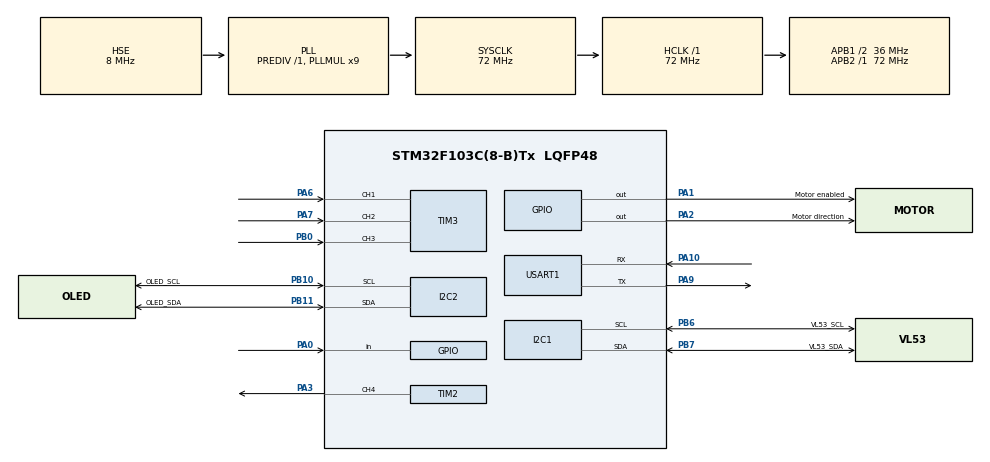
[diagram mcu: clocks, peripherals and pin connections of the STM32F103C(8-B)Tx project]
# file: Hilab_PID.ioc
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Dma.I2C2_RX.0.Direction=DMA_PERIPH_TO_MEMORY
Dma.I2C2_RX.0.Instance=DMA1_Channel5
Dma.I2C2_RX.0.MemDataAlignment=DMA_MDATAALIGN_BYTE
Dma.I2C2_RX.0.MemInc=DMA_MINC_ENABLE
Dma.I2C2_RX.0.Mode=DMA_NORMAL
Dma.I2C2_RX.0.PeriphDataAlignment=DMA_PDATAALIGN_BYTE
Dma.I2C2_RX.0.PeriphInc=DMA_PINC_DISABLE
Dma.I2C2_RX.0.Priority=DMA_PRIORITY_LOW
Dma.I2C2_TX.1.Direction=DMA_MEMORY_TO_PERIPH
Dma.I2C2_TX.1.Instance=DMA1_Channel4
Dma.I2C2_TX.1.MemDataAlignment=DMA_MDATAALIGN_BYTE
Dma.I2C2_TX.1.MemInc=DMA_MINC_ENABLE
Dma.I2C2_TX.1.Mode=DMA_NORMAL
Dma.I2C2_TX.1.PeriphDataAlignment=DMA_PDATAALIGN_BYTE
Dma.I2C2_TX.1.PeriphInc=DMA_PINC_DISABLE
Dma.I2C2_TX.1.Priority=DMA_PRIORITY_LOW
Dma.Request0=I2C2_RX
Dma.Request1=I2C2_TX
I2C1.I2C_Mode=I2C_Fast
I2C2.I2C_Mode=I2C_Fast
IWDG.Prescaler=IWDG_PRESCALER_16
Mcu.Family=STM32F1
Mcu.Name=STM32F103C(8-B)Tx
Mcu.Package=LQFP48
NVIC.DMA1_Channel4_IRQn=true\:0\:0\:false\:false\:true\:false\:true\:true
NVIC.DMA1_Channel5_IRQn=true\:0\:0\:false\:false\:true\:false\:true\:true
NVIC.I2C1_EV_IRQn=true\:0\:0\:false\:false\:true\:true\:true\:true
NVIC.I2C2_EV_IRQn=true\:0\:0\:false\:false\:true\:true\:true\:true
NVIC.PriorityGroup=NVIC_PRIORITYGROUP_4
NVIC.TIM1_UP_IRQn=true\:2\:0\:true\:false\:true\:true\:true\:true
NVIC.TIM3_IRQn=true\:0\:0\:false\:false\:true\:true\:true\:true
NVIC.USART1_IRQn=true\:0\:0\:false\:false\:true\:true\:true\:true
PA0-WKUP.GPIO_PuPd=GPIO_PULLDOWN
PA0-WKUP.Signal=GPIO_Input
PA1.GPIO_Label=Motor enabled
PA1.Signal=GPIO_Output
PA10.Mode=Asynchronous
PA10.Signal=USART1_RX
PA13.Mode=Trace_Asynchronous_SW
PA13.Signal=SYS_JTMS-SWDIO
PA14.Mode=Trace_Asynchronous_SW
PA14.Signal=SYS_JTCK-SWCLK
PA2.GPIO_Label=Motor direction
PA2.Signal=GPIO_Output
PA3.Signal=S_TIM2_CH4
PA6.Signal=S_TIM3_CH1
PA7.Signal=S_TIM3_CH2
PA9.Mode=Asynchronous
PA9.Signal=USART1_TX
PB0.GPIO_PuPd=GPIO_PULLUP
PB0.Signal=S_TIM3_CH3
PB10.GPIO_Label=OLED_SCL
PB10.Mode=I2C
PB10.Signal=I2C2_SCL
PB11.GPIO_Label=OLED_SDA
PB11.Mode=I2C
PB11.Signal=I2C2_SDA
PB3.Mode=Trace_Asynchronous_SW
PB3.Signal=SYS_JTDO-TRACESWO
PB6.GPIO_Label=VL53_SCL
PB6.Mode=I2C
PB6.Signal=I2C1_SCL
PB7.GPIO_Label=VL53_SDA
PB7.Mode=I2C
PB7.Signal=I2C1_SDA
PC14-OSC32_IN.Mode=LSE-External-Oscillator
PC14-OSC32_IN.Signal=RCC_OSC32_IN
PC15-OSC32_OUT.Mode=LSE-External-Oscillator
PC15-OSC32_OUT.Signal=RCC_OSC32_OUT
PD0-OSC_IN.Mode=HSE-External-Oscillator
PD0-OSC_IN.Signal=RCC_OSC_IN
PD1-OSC_OUT.Mode=HSE-External-Oscillator
PD1-OSC_OUT.Signal=RCC_OSC_OUT
ProjectManager.HeapSize=0x200
ProjectManager.StackSize=0x400
ProjectManager.TargetToolchain=CMake
RCC.AHBFreq_Value=72000000
RCC.APB1CLKDivider=RCC_HCLK_DIV2
RCC.APB1Freq_Value=36000000
RCC.APB1TimFreq_Value=72000000
RCC.APB2Freq_Value=72000000
RCC.APB2TimFreq_Value=72000000
RCC.HCLKFreq_Value=72000000
RCC.PLLMUL=RCC_PLL_MUL9
RCC.PLLSourceVirtual=RCC_PLLSOURCE_HSE
RCC.SYSCLKFreq_VALUE=72000000
RCC.SYSCLKSource=RCC_SYSCLKSOURCE_PLLCLK
RCC.USBFreq_Value=72000000
SH.S_TIM2_CH4.0=TIM2_CH4,PWM Generation4 CH4
SH.S_TIM3_CH1.0=TIM3_CH1,Encoder_Interface
SH.S_TIM3_CH2.0=TIM3_CH2,Encoder_Interface
SH.S_TIM3_CH3.0=TIM3_CH3,Input_Capture3_from_TI3
TIM1.Period=1000-1
TIM1.Prescaler=71
TIM2.Channel-PWM\ Generation1\ No\ Output=TIM_CHANNEL_1
TIM2.Channel-PWM\ Generation4\ CH4=TIM_CHANNEL_4
TIM2.Period=999
TIM2.Prescaler=71
TIM3.Channel-Input_Capture3_from_TI3=TIM_CHANNEL_3
TIM3.EncoderMode=TIM_ENCODERMODE_TI12
TIM3.IC1Filter=15
TIM3.IC2Filter=15
TIM3.ICFilter_CH3=15
USART1.VirtualMode=VM_ASYNC
VP_IWDG_VS_IWDG.Mode=IWDG_Activate
VP_TIM1_VS_ClockSourceINT.Mode=Internal
VP_TIM2_VS_no_output1.Mode=PWM Generation1 No Output
board=custom

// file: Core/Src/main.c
/* USER CODE BEGIN Header */
/**C:/msys64/msys2_shell.cmd -defterm -no-start -use-full-path -here -ucrt64 -c "cmake --build build/Debug"
C:/msys64/msys2_shell.cmd -defterm -no-start -use-full-path -here -ucrt64 -c "openocd -f openocd_stlink.cfg -c 'program
build/Debug/Hilab_PID.elf verify reset exit'"
 ******************************************************************************
 * @file           : main.c
 * @brief          : Main program body
 ******************************************************************************
 * @attention
 *
 * Copyright (c) 2026 STMicroelectronics.
 * All rights reserved.
 *
 * This software is licensed under terms that can be found in the LICENSE file
 * in the root directory of this software component.
 * If no LICENSE file comes with this software, it is provided AS-IS.
 *
 ******************************************************************************
 */
/* USER CODE END Header */
#include "main.h"
#include "dma.h"
#include "i2c.h"
#include "iwdg.h"
#include "tim.h"
#include "usart.h"
#include "gpio.h"

/* USER CODE BEGIN Includes */
#include "encoder.h" /* 编码器计数/Z 校准/掉电保存 */
#include "key.h"	 /* PA0 按键消抖与事件队列 */
#include "motor.h"	 /* 电机控制（含 g_mot_en） */
#include "oled.h"	 /* OLED 屏幕原语 */
#include "pid.h"	 /* 位置式 PID 控制器（标准命名：Target/Actual/Out/Kp/Ki/Kd） */
#include "tof.h"	 /* 测距 → 滤波 → 有效帧占比（含 g_tof_filter） */

#include <stdbool.h>
#include <stdint.h>
#include <stdio.h>	/* snprintf */
#include <stdlib.h> /* strtol */

/* USER CODE END Includes */

/* USER CODE BEGIN PD */
/* 调度周期：内环=外环=20ms（50Hz，同拍） */
#define Inner_PERIOD_MS		20u					  /* 内环：编码器位置 PID，50Hz */
#define Outter_PERIOD_MS	(Inner_PERIOD_MS * 5) /* 外环：位置→内环位置目标，100ms */
#define CMD_PERIOD_MS  100u					 /* 串口命令：10Hz（主循环执行） */
#define OLED_PERIOD_MS		200u				  /* OLED 页面内容更新：5Hz（主循环执行） */
#define OLED_TICK_PERIOD_MS 25u					  /* OLED 逐页回写：25ms 一页，8 页整屏 200ms */
#define VOFA_PERIOD_MS	 Inner_PERIOD_MS	   /* VOFA 20ms 1次 */
#define TOF_PERIOD_MS		20					  /* TOF 20ms 1次 */
#define ENCODER_PERIOD_MS	20					  /* 编码器 50ms 1次 */
#define ENC_TICK_PERIOD_MS	20					  /* 编码器 50ms 1次 */
#define TOF_TICK_PERIOD_MS	20					  /* TOF 20ms 1次 */
/* 单环位置 PID：小球位置(pos_cm_x10) → 脉冲频率(Hz)，每个测距拍推进一次。
 * 方向开关（唯一）：1 = 正相关（pos>0 时 freq>0），0 = 负相关。
 * Target=0 时 Out = Kp×(0−pos)，故正相关对应 Kp 取负号。 */
#define BALL_POS_HZ_SIGN	  1
#define BALL_POS_HZ_DIR		  (BALL_POS_HZ_SIGN ? -1.0f : 1.0f) // 正相关（pos>0 时 freq>0）
#define BALL_KP_HZ_PER_CM_X10 4.0f								/* Hz / 0.1cm 偏差（pos=30 即 3cm 时 120Hz） */
/* 外环积分偏置：吃零点误差与"维持角"的常值偏差，位置相关的部分由它在每个停留点自己学。
 * 必须加在制动包络外面 —— |e|=48mm 时包络已把 Out 夹到 44 counts，积分加在里面会被一起夹掉。
 * 增益取自串口第 2 个参数（千分比）：0 = 关闭，10 = 0.01；上电默认 0.03。
 * 积分时间 = Kp/Ki = 2/0.03 ≈ 67 拍 ≈ 6.7s；配合"卡住才积分"不会积成极限环。
 * 限幅 60 counts：够补实测维持角偏差（拧紧后 ~30~40），又不至于把杆带偏。 */
#define BALL_I_BIAS_MAX		  60.0f /* 积分偏置默认上限（counts）；可经串口第 8 参数在线改 */
/* 条件积分（2026-11-07）：只在球"卡住"时累加，球一动就冻结，避免把动量积成过冲。
 * 卡住判据不能直接用 kf_vel：静止噪声 σ≈8.5mm/s，而慢速爬行只有 ~8mm/s，
 * 两者重叠。故先做一阶低通（外环 100ms，α=0.2 → τ≈0.45s，噪声降到 ~3mm/s），
 * 低通后仍低于 5mm/s 才算静止。误差死区避免在目标附近继续堆偏置。 */
#define BALL_I_STUCK_MM_S	  5.0f /* 低通后速度阈值（mm/s）：低于此值视为卡住 */
#define BALL_I_DEADBAND		  2.0f /* 误差死区（mm）：|e| 小于此值不再积分 */
/* 运动泄放：球真正滚起来后，积分偏置按 τ≈1.4s 向 0 泄放。
 * 静摩擦突破所需的偏置对动摩擦来说偏大，不泄放会带着它冲过头
 * （实测 Ki=0.03/cap=60 阶跃过冲 +35mm）。泄放只在高速度段生效，
 * 5~15mm/s 的慢爬行保持偏置，避免"泄放→停住→再积"的小极限环。 */
#define BALL_I_MOVE_MM_S	  15.0f /* 泄放起始速度（mm/s） */
#define BALL_I_LEAK			  0.93f /* 每拍（100ms）泄放系数：τ≈1.4s */
#define MOTOR_CONTROL_ENABLE  1
#define ZERO_THETA			  680
/* USER CODE END PD */

/* USER CODE BEGIN PV */
/* ---- 串口 RX 解析结果（文件级，主循环读写） ---- */
#define RX_VAL_MAX                                                                                                         \
	14u										/* 一行最多解析 14 个逗号分隔数值：                                            \
											 * Kp,Ki,Kd,brake_gain,brake_min,src,target,bias_max,deadzone,ff_gain,vel_kp,vel_ki,out_max,out_min \
											 * src: 0/省略 = KF 位置，1 = EMA 位置，2 = 速度模式（target 为 v_ref mm/s） \
											 * target: 位置模式=0.1cm（靠近 ToF 为正）；速度模式=v_ref mm/s  \
											 * bias_max: 积分偏置限幅（counts）                            \
											 * deadzone: 外环死区（mm，0~20；带内 Out=0）                  \
											 * ff_gain: 目标速度前馈系数（千分比，可负；0=关闭）           \
											 * vel_kp / vel_ki: 速度环增益（counts/(mm/s)；Ki 千分比/拍） \
											 * out_max / out_min: 外环输出上下限（counts，可不对称） */
static float			rx_val[RX_VAL_MAX]; /* 解析出的数值（支持小数） */
static uint8_t			rx_cnt	 = 0;		/* 本行实际解析出的个数（0~RX_VAL_MAX） */
static volatile uint8_t rx_valid = 0;		/* 1 = 收到新参数行，等主循环接管写入一次 */

/* ---- 调度标志（TIM1 ISR 置位，主循环消费） ---- */
static volatile uint8_t inner_tick	= 0; /* 内环：编码器 PID + TOF 20ms */
static volatile uint8_t	 outter_tick	= 0; /* 外环：位置 PID → 内环位置目标 100ms */
static volatile uint8_t cmd_tick	= 0; /* 串口命令解析 100ms */
static volatile uint8_t	 oled_tick		= 0; /* OLED 页面内容更新 200ms */
static volatile uint8_t	 oled_page_tick = 0; /* OLED 逐页回写 25ms */
static volatile uint8_t vofa_tick	= 0; /* VOFA 20ms 1次 */
static volatile uint32_t tof_tick		= 0;
static volatile uint32_t enc_tick		= 0;
/* 主循环心跳：1 = 最近 1s 内主循环至少跑过一圈；ISR 据此决定是否喂狗 */
static volatile uint8_t loop_alive = 0;
bool					runstate   = 1; /* 默认上电即运行，按键单击翻转为停止 */
/* ---- 外环积分偏置（挂在制动包络外，见 BALL_I_BIAS_MAX 的说明） ----
 * 不用 ball_pid.Ki：PID_Update 内的 I 项会和 P+D 一起被包络夹掉，
 * 而这里要的正是"包络夹不住的常值角度"。 */
/* 上电默认开启条件积分（2026-11-07 实测：机械拧紧 + Ki=0.03/cap=60 后残差 +0.2mm）。
 * 串口第 2 参数仍可在线改，发 0 会同时清掉偏置。 */
static float s_ball_ki = 0.03f; /* 积分增益（串口第 2 参数，千分比） */
static float s_i_bias  = 0.0f; /* 积分偏置（counts），直接叠加到内环目标 */
/* 卡住判据用的低通速度（mm/s）：外环 100ms 更新，α=0.2 → τ≈0.45s */
static float s_vel_slow = 0.0f;
/* 偏置限幅（counts）：限的是 Ki·Σe 这个"积分输出"本身，不是 Σe。
 * 好处是它的物理含义固定——最多能补多少 counts 的杆角，跟 Ki 取多少无关。 */
static float s_i_bias_max = BALL_I_BIAS_MAX;
/* 目标速度前馈：ff = ff_gain × (Target − Target_prev)（每拍增量，≈ ṙ·Ts）。
 * 与 Kd 的实际速度反馈分开，系数由串口第 10 位（千分比）单独整定。 */
static float s_ff_gain		= 0.0f;
static float s_target_prev	= 0.0f;
/* 速度模式（src=2）：目标字段改为 v_ref（mm/s），走 vel_pid 而非位置环 */
static uint8_t s_vel_mode = 0;
static float   s_vref	  = 0.0f;
/* ---- 位置外环 PID（ToF 反馈 → 内环位置目标 counts） ----
 * 上电默认值 = 2026-11-06 实测最优（见 .trae/documents/摆杆闭环调参与KF实测记录.md 第六章）：
 * 收敛 5s、过冲 14~29mm、稳态 σ 1.4~2.9mm。上位机不发参数时也必须能稳住，
 * 故这里直接写最优值，不再保留旧的 Kp=5/Kd=40/brake=4 整定起点。 */
PID_t ball_pid = {
	.Kp			= 2.0f,
	.Ki			= 0.0f,
	.Kd			= 15.0f,
	.OutMin		= -200.0f,
	.OutMax		= 200.0f,
	/* 积分限幅：0 表示不限幅（无限累积 → 积分饱和）。摩擦死区约 15 counts，
	 * 稳态输出全由积分提供时 ErrorInt ≈ 15/Ki（Ki=0.1 → 150），故留 2 倍裕量 */
	.i_limit	= 300.0f,
	.Target		= 0.0f,
	.brake_gain = 20.0f, /* 包络增益上限：25 卡死（偏差 47mm）、35/50 极限环 */
	.brake_min	= 0.5f,
	.Out		= 200.0f,
	.use_vel_d	= 1, /* D 项改用 KF 速度输入，不再对位置差分（见 PID_t 的 Vel 说明） */
	.deadzone	= 5.0f, /* 位置死区（mm）：带内 Out=0、电机不动；实测残差 ≤5mm 可接受 */
};
/* ---- 位置内环 PID（编码器反馈 → 步进频率 Hz） ---- */
PID_t encoder_pid = {
	.Kp		 = 11.0f,
	.Ki		 = 0.0f,
	.Kd		 = 2.0f,
	.OutMin	 = -10000.0f, /* 频率限幅 ±300Hz（D36A 启动频率内，防丢步） */
	.OutMax	 = 10000.0f,
	.i_limit = 10000.0f,
	.Target	 = 0.0f,
};
/* ---- 速度环 PID（速度模式用：v_ref(mm/s) → 角度偏置 counts） ----
 * src=2 时启用：上位机按正弦轨迹给 v_ref，内环角度环不变。
 * Actual 取 dpos/dt = −kf_vel（pos 为靠近 ToF 为正的坐标）；
 * Kp 单位 counts/(mm/s)，Ki 按每拍千分比由串口第 12 位给。 */
PID_t vel_pid = {
	.Kp		 = 8.0f,
	.Ki		 = 0.0f,
	.Kd		 = 0.0f,
	.OutMin	 = -200.0f,
	.OutMax	 = 200.0f,
	.i_limit = 200.0f,
	.Target	 = 0.0f,
};
/* 控制状态（s_ctrl_mode/s_key_estop）与滤波器实例（g_tof_filter）已迁至
 * ctrl.c / tof.c，本文件通过 Ctrl_GetMode()/Ctrl_IsEstop()/g_tof_filter 访问。 */
/* USER CODE END PV */

void SystemClock_Config(void);
/* USER CODE BEGIN PFP */
/* 控制逻辑与串口命令解析均在 main.c 内实现。 */
/* USER CODE END PFP */

/* USER CODE BEGIN 0 */
/* 页面文案与取数都在 main 层就地实现（各页仅一处使用，不另设封装）；
 * OLED 模块只提供屏幕原语，每次改动只回写改动区。 */
/* USER CODE END 0 */

int main(void)
{

  /* MCU Configuration--------------------------------------------------------*/

  /* Reset of all peripherals, Initializes the Flash interface and the Systick. */
  HAL_Init();

  /* Configure the system clock */
  SystemClock_Config();

  /* Initialize all configured peripherals */
  MX_GPIO_Init();
  MX_DMA_Init();
  MX_I2C1_Init();
  MX_TIM2_Init();
  MX_USART1_UART_Init();
  MX_I2C2_Init();
  MX_TIM1_Init();
  MX_IWDG_Init();
  MX_TIM3_Init();
  /* USER CODE BEGIN 2 */
  /* IWDG 自 MX_IWDG_Init 起已运行，初始化分步喂狗防误复位 */
  HAL_IWDG_Refresh(&hiwdg);

  OLED_Init();
  HAL_IWDG_Refresh(&hiwdg);

  /* 复位诊断：第二行显示上次复位源，P=上电/掉电 I=IWDG N=NRST S=软件 */
  {
	  char rst_ch = 'S';

	  if (__HAL_RCC_GET_FLAG(RCC_FLAG_PORRST)) {
		  rst_ch = 'P';
	  } else if (__HAL_RCC_GET_FLAG(RCC_FLAG_IWDGRST)) {
		  rst_ch = 'I';
	  } else if (__HAL_RCC_GET_FLAG(RCC_FLAG_PINRST)) {
		  rst_ch = 'N';
	  }
	  __HAL_RCC_CLEAR_RESET_FLAGS(); // 清除复位标志位，避免重复显示
	  OLED_Print(0, 8, "RST:%c", rst_ch);
	  OLED_Flush(0, 8, OLED_WIDTH, 8);
  }
  HAL_IWDG_Refresh(&hiwdg);

  /* VL53L1X 初始化 + 启动连续测量（Short 模式 250mm）。
   * 内部阻塞 ~数百 ms；失败在应用层显示错误页并持续喂狗停机 */
  {
	  int err = Tof_InitSensor(NULL);

	  if (err != 0) {
		  OLED_Print(0, 16, "VL53 FAIL");
		  OLED_Print(0, 24, "step:%s err:%d", g_tof.last_step, err);
		  OLED_Flush(0, 16, OLED_WIDTH, 16);
		  HAL_IWDG_Refresh(&hiwdg);
		  HAL_Delay(3000);
	  }
  }
  HAL_IWDG_Refresh(&hiwdg);

  /* 滤波器与零点初始化 */
  {
	  TofFilter_Init(&g_tof_filter, TOF_FILTER_ALPHA_DEFAULT_MILLI, TOF_FILTER_ZERO_DEFAULT_MM);
	  /* 硬件标定零点：2026-11-07 实测传感器零点漂到 151mm（原 131mm），
	   * 按当前静止读数重新标定，避免位置整体偏 20mm */
	  TofFilter_SetZeroMm(&g_tof_filter, 151);
  }
  /* 执行器与编码器启动：两者都必须在 MX_TIM2_Init/MX_TIM3_Init 之后调用 */
  Motor_Init();	  /* 校验 TIM2 分频、设定 STEP 占空比、对齐 DIR 初态 */
  Encoder_Init(); /* 启动 TIM3 编码器接口，否则 CEN 不置位、CNT 恒 0 */

  /* 串级双 PID 初始化：
   * 外环位置（ToF pos_cm_x10）→ 内环位置目标（counts）
   * 内环位置（编码器 counts）→ 步进频率（Hz）
   * 方向符号由 BALL_POS_HZ_DIR 统一决定 */

  /* 接收上位机命令（A/Z/P/I/D/R）；VOFA 数据流仍只含数值，不混入文本 */
  USART1_StartRx();

  /* SysTick 优先级=1（须高于 TIM1=2）：ISR 内 HAL_GetTick() 走时，
   * HAL_I2C 的 100ms 超时才能生效，防止 VL53L1X_I2C_Recover 死等 */
  HAL_NVIC_SetPriority(SysTick_IRQn, 1, 0);

  /* TIM1 启动（CubeMX 配置 Counter Period=999 → 1ms 基础节拍） */
  if (HAL_TIM_Base_Start_IT(&htim1) != HAL_OK) {
	  Error_Handler();
  }

#if MOTOR_CONTROL_ENABLE
  Motor_SetEnabled(true); /* EN 引脚使能：绕组通电，闭环可直接发脉冲 */
#endif
  HAL_IWDG_Refresh(&hiwdg);

  /* USER CODE END 2 */

  /* Infinite loop */
  while (1) {

    /* USER CODE BEGIN 3 */
	  /* 串口参数接管：仅在收到新参数行时写入一次，禁止每圈无条件覆盖 */
	  if (rx_valid) {
		  rx_valid = 0;
		  if (rx_cnt > 0) ball_pid.Kp = rx_val[0];
		  /* Ki 用千分比：10 = 0.01。不写 ball_pid.Ki —— PID_Update 内的 I 项会和
		   * P+D 一起被制动包络夹掉，这里改由包络外的 s_i_bias 实现。
		   * Ki=0 时同时清掉已积累的偏置，方便做"开/关积分"的 A/B 对照 */
		  if (rx_cnt > 1) {
			  s_ball_ki = rx_val[1] * 0.001f;
			  if (s_ball_ki == 0.0f) {
				  s_i_bias = 0.0f;
			  }
		  }
		  if (rx_cnt > 2) ball_pid.Kd = rx_val[2];
		  if (rx_cnt > 3) ball_pid.brake_gain = rx_val[3];
		  /* brake_min 用千分比：500 = 0.5 counts。其余参数全整数解析，
		   * 以避开 strtof（会拉入约 18KB 浮点库，Flash 容量不够） */
		  if (rx_cnt > 4) ball_pid.brake_min = rx_val[4] * 0.001f;
		  /* 第 6 个参数：模式/源。0=KF 位置（默认），1=EMA 位置，2=速度模式 */
		  if (rx_cnt > 5) {
			  s_vel_mode = (rx_val[5] > 1.5f) ? 1u : 0u;
			  TofFilter_SetOutputEma(&g_tof_filter, (rx_val[5] > 0.5f) && !s_vel_mode);
		  }
		  /* 第 7 个参数：外环目标（0.1cm）。只在收到命令时写一次，不再每周期覆盖。
		   * 符号链：pos = filt − zero，Actual = −pos，故稳态 pos = −Target，
		   * 即 filt = zero − Target。限幅直接按"球到传感器的距离"设定，
		   * 不再按 Target 的正负写上下限（那样会把方向搞反） */
		  if (rx_cnt > 6) {
			  if (s_vel_mode) {
				  /* 速度模式：第 7 位是 v_ref（mm/s），限幅 ±400 */
				  float vr = rx_val[6];

				  if (vr > 400.0f) {
					  vr = 400.0f;
				  } else if (vr < -400.0f) {
					  vr = -400.0f;
				  }
				  s_vref = vr;
			  } else {
				  float filt = (float) g_tof_filter.zero_mm - rx_val[6];

				  if (filt > 470.0f) {
					  filt = 470.0f; /* 远端上限：管长 500mm，球心最远约 470mm；
									  * 传感器实测 0.9 MCPS 下有效到 421 以上 */
				  } else if (filt < 21.0f) {
					  filt = 21.0f; /* 近端下限：避开传感器盲区 */
				  }
				  ball_pid.Target = (float) g_tof_filter.zero_mm - filt;
			  }
		  }
		  /* 第 8 个参数：积分偏置限幅（counts）。夹到 [10, 400]：
		   * 下限避免"限幅 0 = 积分失效"，上限避免大偏置把杆带飞。
		   * 改小限幅时立即把已积累的偏置缩回范围内 */
		  if (rx_cnt > 7) {
			  float m = rx_val[7];

			  if (m < 10.0f) {
				  m = 10.0f;
			  } else if (m > 400.0f) {
				  m = 400.0f;
			  }
			  s_i_bias_max = m;
			  if (s_i_bias > s_i_bias_max) {
				  s_i_bias = s_i_bias_max;
			  } else if (s_i_bias < -s_i_bias_max) {
				  s_i_bias = -s_i_bias_max;
			  }
		  }
		  /* 第 9 个参数：外环死区（mm，夹到 [0,20]）。
		   * |e| 在带内时 PID 输出直接置 0；0 = 关闭 */
		  if (rx_cnt > 8) {
			  float dz = rx_val[8];

			  if (dz < 0.0f) {
				  dz = 0.0f;
			  } else if (dz > 20.0f) {
				  dz = 20.0f;
			  }
			  ball_pid.deadzone = dz;
		  }
		  /* 第 10 个参数：目标速度前馈系数（千分比，可负，夹到 ±3000）。
		   * 0 = 关闭；1000 = 1.0（与目标速度同量纲的前馈） */
		  if (rx_cnt > 9) {
			  float g = rx_val[9];

			  if (g < -3000.0f) {
				  g = -3000.0f;
			  } else if (g > 3000.0f) {
				  g = 3000.0f;
			  }
			  s_ff_gain = g * 0.001f;
		  }
		  /* 第 11/12 个参数：速度环 Kp（counts/(mm/s)）与 Ki（千分比/拍） */
		  if (rx_cnt > 10) {
			  float kp = rx_val[10];

			  if (kp < 0.0f) {
				  kp = 0.0f;
			  } else if (kp > 200.0f) {
				  kp = 200.0f;
			  }
			  vel_pid.Kp = kp;
		  }
		  if (rx_cnt > 11) {
			  float ki = rx_val[11];

			  if (ki < -500.0f) {
				  ki = -500.0f;
			  } else if (ki > 500.0f) {
				  ki = 500.0f;
			  }
			  vel_pid.Ki = ki * 0.001f;
		  }
		  /* 第 13/14 个参数：输出上下限（counts），正/负可分开设置。
		   * 外环与速度环同时生效；夹到 [20, 500] 与 [-500, -20]。 */
		  if (rx_cnt > 12) {
			  float m = rx_val[12];

			  if (m < 20.0f) {
				  m = 20.0f;
			  } else if (m > 500.0f) {
				  m = 500.0f;
			  }
			  ball_pid.OutMax = m;
			  vel_pid.OutMax  = m;
		  }
		  if (rx_cnt > 13) {
			  float m = rx_val[13];

			  if (m > -20.0f) {
				  m = -20.0f;
			  } else if (m < -500.0f) {
				  m = -500.0f;
			  }
			  ball_pid.OutMin = m;
			  vel_pid.OutMin  = m;
		  }
	  }
	  if (tof_tick) {
		  tof_tick = 0;
		  Tof_Tick(&g_tof_filter);
	  }
	  {
		  KeyEvent_t evt;
		  while ((evt = Key_PollEvent()) != KEY_EVT_NONE) {
			  if (evt == KEY_EVT_CLICK) {
				  runstate = !runstate;
			  }
		  }
	  }
	  /* 主循环心跳：IWDG 据此判断是否卡死，任何一步超过 ≈1s 没转圈都会触发复位 */
	  loop_alive = 1;

	  /* 外环（100ms）：位置 PID → 内环位置目标 */

	  /* 编码器采样只在 TIM1 ISR 里做（20ms 一次，见 HAL_TIM_PeriodElapsedCallback）：
	   * Encoder_Tick 读 CNT→算差分→写 s_enc_last 不是原子操作，主循环会被 ToF 的
	   * I2C 阻塞拉长，若再在这里调一次，中断插进读写之间就会重复计数 */

	  /* VOFA 遥测（11 通道，顺序须与 assets/channels.json 一致）：
	   * ch0 enc_target  ch1 enc_actual  ch2 enc_out_hz  ch3 ball_target
	   * ch4 raw_mm      ch5 ema_mm      ch6 kf_pos      ch7 kf_vel
	   * ch8 kf_state    ch9 ball_out    ch10 range_status
	   * 位置通道统一为"相对零点、靠近 ToF 为正"（zero − 距离），与 Target 同向；
	   * 距离为 0 表示尚无数据，保持 0 不上翻。
	   * kf_state 位域：bit0=bad_streak≥3，bit1~4=bad_streak(0~15)，bit5~7=kf_miss(0~7)
	   * range_status：0=有效；>0 为 VL53L1X RangeStatus（1 sigma 超限 / 2 信号弱 /
	   *   7 绕回失败 等）；-1 等数据超时 / -2 读取失败 / -3 滤波器量程拒绝 */
	  if (vofa_tick) {
		  vofa_tick = 0;
		  int32_t z	   = (int32_t) g_tof_filter.zero_mm;
		  int32_t rawp = (g_tof.raw_mm > 0) ? z - (int32_t) g_tof.raw_mm : 0;
		  int32_t emap = (g_tof.ema_mm > 0) ? z - (int32_t) g_tof.ema_mm : 0;
		  int32_t kfp  = (g_tof.filt_mm > 0) ? z - (int32_t) g_tof.filt_mm : 0;
		  int32_t vofa[11] = {(int32_t) encoder_pid.Target, (int32_t) encoder_pid.Actual, (int32_t) encoder_pid.Out,
							  (int32_t) ball_pid.Target,	   rawp,					  emap,
							  kfp,						   (int32_t) g_tof.kf_vel,	  (int32_t) g_tof.kf_state,
							  (int32_t) ball_pid.Out,	   (int32_t) g_tof.range_status};
		  VOFA_SendFrame(vofa, 11);
	  }

	  /* 100ms：读最新 RX 行、按逗号分隔解析整数 */
	  if (cmd_tick) {
		  cmd_tick = 0;
		  if (uart1_last_ready) {
			  const char *p = (const char *) uart1_last_line;
			  char		 *end;

			  rx_cnt = 0;
			  for (uint8_t i = 0; i < RX_VAL_MAX; i++) {
				  while (*p == ' ' || *p == '\t')
					  p++;
				  if (*p == '\0') {
					  break;
				  }
				  long v = strtol(p, &end, 10);
				  if (end == p) {
					  break;
				  }
				  rx_val[rx_cnt++] = (float) v;
				  p				   = end;
				  if (*p == ',') {
					  p++;
					  continue;
				  }
				  break;
			  }
			  uart1_last_ready = 0;
			  rx_valid		   = 1; /* 新参数行，待主循环接管写入一次 */
		  }
	  }

	  /* 5Hz：刷运行时页面 */
	  if (oled_tick) {
		  oled_tick = 0;

		  /* 屏幕位置与遥测同向：靠近 ToF 为正（pos_cm_x10 = 距离 − 零点） */
		  int16_t pos	  = (int16_t) (-g_tof.pos_cm_x10);
		  char	  sign	  = (pos < 0) ? '-' : ' ';
		  int32_t abs_pos = (pos < 0) ? -(int32_t) pos : (int32_t) pos;
		  uint8_t mot_en  = 0u;
		  char	  rx_str[64];
		  char	 *p = rx_str;
#if MOTOR_CONTROL_ENABLE
			mot_en = 1u;
#endif

			for (uint8_t i = 0; i < rx_cnt && i < RX_VAL_MAX; i++) {
				if (i && p < rx_str + sizeof(rx_str) - 1) *p++ = ',';
				p += snprintf(p, sizeof(rx_str) - (size_t) (p - rx_str), "%d", (int) rx_val[i]);
				if (p > rx_str + sizeof(rx_str) - 1) {
					p = rx_str + sizeof(rx_str) - 1; /* 截断时 snprintf 返回"本应长度"，会越界 */
				}
			}
			*p = '\0';

			OLED_ClearArea(0, 0, OLED_WIDTH, 64);
			OLED_Print(0, 0,  "RAW:%4d mm", (int) g_tof.raw_mm);
			OLED_Print(0, 8,  "POS:%c%ld.%ld cm", sign, (long) (abs_pos / 10), (long) (abs_pos % 10));
			OLED_Print(0, 16, "VAL:%3lu%%", (unsigned long) g_tof.valid_pct);
			OLED_Print(0, 24, "ENC:%6ld", (long) Encoder_Read());
			OLED_Print(0, 32, "M:%u R:%u", (unsigned) mot_en, (unsigned) runstate);
			OLED_Print(0, 48, "RX:%d %s", (int) rx_cnt, rx_str);
			/* TOFSTATE = g_tof.range_status（VL53L1X RangeStatus，见 vl53l1_def.h）：
			 *   0  有效
			 *   1  Sigma 超限          2  信号过弱
			 *   3  低于最小量程        4  相位越界
			 *   5  硬件自检失败        6  有效但未做绕回校验
			 *   7  绕回目标失败        8  内部算法溢出
			 *   9  串扰信号失败        10 背靠背首中断（丢弃）
			 *   11 多脉冲合并          12 有目标但信号不足
			 *   13 低于最小量程/ROI 裁剪
			 *   14 距离无效（负值）
			 *   -1 等数据就绪超时  -2 读取失败  -3 越出 [8,500]mm 量程门 */
			OLED_Print(0, 56, "TOFSTATE:%6ld", (long) g_tof.range_status);
	  }

	  /* 25ms：逐页回写一页，8 页整屏 200ms，单次 I2C 阻塞仅为整屏的 1/8 */
	  if (oled_page_tick) {
		  oled_page_tick = 0;
		  OLED_Tick();
	  }

	  /* 按键事件消费（非阻塞） */
  }
  /* USER CODE END 3 */
}

void SystemClock_Config(void)
{
  RCC_OscInitTypeDef RCC_OscInitStruct = {0};
  RCC_ClkInitTypeDef RCC_ClkInitStruct = {0};

  /** Initializes the RCC Oscillators according to the specified parameters
  * in the RCC_OscInitTypeDef structure.
  */
  RCC_OscInitStruct.OscillatorType = RCC_OSCILLATORTYPE_LSI|RCC_OSCILLATORTYPE_HSE;
  RCC_OscInitStruct.HSEState = RCC_HSE_ON;
  RCC_OscInitStruct.HSEPredivValue = RCC_HSE_PREDIV_DIV1;
  RCC_OscInitStruct.HSIState = RCC_HSI_ON;
  RCC_OscInitStruct.LSIState = RCC_LSI_ON;
  RCC_OscInitStruct.PLL.PLLState = RCC_PLL_ON;
  RCC_OscInitStruct.PLL.PLLSource = RCC_PLLSOURCE_HSE;
  RCC_OscInitStruct.PLL.PLLMUL = RCC_PLL_MUL9;
  if (HAL_RCC_OscConfig(&RCC_OscInitStruct) != HAL_OK)
  {
    Error_Handler();
  }

  /** Initializes the CPU, AHB and APB buses clocks
  */
  RCC_ClkInitStruct.ClockType = RCC_CLOCKTYPE_HCLK|RCC_CLOCKTYPE_SYSCLK
                              |RCC_CLOCKTYPE_PCLK1|RCC_CLOCKTYPE_PCLK2;
  RCC_ClkInitStruct.SYSCLKSource = RCC_SYSCLKSOURCE_PLLCLK;
  RCC_ClkInitStruct.AHBCLKDivider = RCC_SYSCLK_DIV1;
  RCC_ClkInitStruct.APB1CLKDivider = RCC_HCLK_DIV2;
  RCC_ClkInitStruct.APB2CLKDivider = RCC_HCLK_DIV1;

  if (HAL_RCC_ClockConfig(&RCC_ClkInitStruct, FLASH_LATENCY_2) != HAL_OK)
  {
    Error_Handler();
  }
}

/* USER CODE BEGIN 4 */
/**
 * @brief TIM1 1ms 节拍：分频驱动内环/外环/VOFA/命令/OLED 节拍，采样按键并按秒喂狗
 * @param htim 触发回调的定时器（仅处理 TIM1，其它实例立即返回）
 * @note  ISR 上下文：不可阻塞、不可调用持有外设锁的 HAL 接口；PID/测距在主循环执行
 */
void HAL_TIM_PeriodElapsedCallback(TIM_HandleTypeDef *htim) {
	static uint16_t tick_ms = 0;
	static uint8_t	ctrl_tick = 0;

	if (htim->Instance != TIM1) {
		return;
	}
	/* 编码器 50ms 1次 */
	if ((tick_ms % TOF_PERIOD_MS) == 0) {
		tof_tick = 1;
	}
	if ((tick_ms % ENCODER_PERIOD_MS) == 0) {
		Encoder_Tick();
	}

	if (++tick_ms >= 1000u) {
		tick_ms = 0;
		if (++ctrl_tick >= 1) {
			ctrl_tick = 0;
			// ball_pid.Out = -ball_pid.Out;
		}
	}
	if (tick_ms % Outter_PERIOD_MS == 0) {
		/* Target 由串口命令设定（第 7 个参数），此处不再周期覆盖；
		 * pos_cm_x10 取负号后作为反馈，故 Target>0 表示球向传感器方向移动 */
		float vel_kf;
		float e_now;
		float ff;

		/* KF 速度（两种模式共用）：kf_vel = d(filt)/dt */
		vel_kf = KF_GetVel(&g_tof_filter.kf);
		if (!g_tof_filter.kf_ready || g_tof_filter.out_use_ema) {
			vel_kf = 0.0f;
		}
		s_vel_slow += 0.2f * (vel_kf - s_vel_slow);

		if (s_vel_mode) {
			/* 速度模式：上位机按正弦轨迹给 v_ref，速度环输出角度偏置；
			 * 位置环/积分/前馈全部旁路。Actual = dpos/dt = −kf_vel。 */
			vel_pid.Target = s_vref;
			vel_pid.Actual = -vel_kf;
			PID_Update(&vel_pid);
			encoder_pid.Target = vel_pid.Out + ZERO_THETA;
		}
		if (!s_vel_mode) {
			/* 外推位置：用 KF 速度把上一帧位置补到当前时刻，消除 0~34ms 采样滞后。
			 * 限幅与回退判断都在 TofFilter_GetCmX10At 内部，ISR 里只做一次调用 */
			ball_pid.Actual = -(float) TofFilter_GetCmX10At(&g_tof_filter, HAL_GetTick());
			/* 死区内 PID_Update 会提前返回、不刷新 Error0，故这里用当拍误差做积分判据 */
			e_now = ball_pid.Target - ball_pid.Actual;

			/* D 项唯一速度源：Actual = -(pos)，故 de/dt = +kf_vel；外环 100ms，
			 * 每拍误差增量 = 0.1 × kf_vel（与 PID 内部差分同量纲）。 */
			ball_pid.Vel = 0.1f * vel_kf;

		PID_Update(&ball_pid);
		/* 目标速度前馈：每拍目标增量（≈ ṙ·Ts）× ff_gain，单独限幅 ±200 counts。
		 * 与 Kd 的实际速度反馈分开；目标不变时 ff=0，不影响保持模式。 */
		ff			 = ball_pid.Target - s_target_prev;
		s_target_prev = ball_pid.Target;
		if (ff > 20.0f) {
			ff = 20.0f;
		} else if (ff < -20.0f) {
			ff = -20.0f;
		}
		ff *= s_ff_gain;
		if (ff > 200.0f) {
			ff = 200.0f;
		} else if (ff < -200.0f) {
			ff = -200.0f;
		}
		/* 外环条件积分：运行、数据未过期、输出未饱和，且球处于"卡住"状态才累加。
		 * 数据过期时滤波器输出的是冻结值，P/D 已经恒定、杆自动保持；
		 * 唯一会继续累积的是积分，所以这里只挡积分，不外溢整套冻结逻辑。
		 * 球一动就停止积分，高速段还会按 τ≈1.4s 泄放，避免把动量积成过冲——
		 * 这是之前 Ki=0.02/cap=300 弛张振荡的直接原因。 */
		if (runstate && !TofFilter_IsStale(&g_tof_filter) &&
			ball_pid.Out > ball_pid.OutMin + 1.0f && ball_pid.Out < ball_pid.OutMax - 1.0f &&
			(ball_pid.deadzone <= 0.0f || e_now > ball_pid.deadzone || e_now < -ball_pid.deadzone)) {
			if (s_vel_slow < BALL_I_STUCK_MM_S && s_vel_slow > -BALL_I_STUCK_MM_S &&
				(e_now > BALL_I_DEADBAND || e_now < -BALL_I_DEADBAND)) {
				s_i_bias += s_ball_ki * e_now;
				if (s_i_bias > s_i_bias_max) {
					s_i_bias = s_i_bias_max;
				} else if (s_i_bias < -s_i_bias_max) {
					s_i_bias = -s_i_bias_max;
				}
			} else if (s_vel_slow > BALL_I_MOVE_MM_S || s_vel_slow < -BALL_I_MOVE_MM_S) {
				s_i_bias *= BALL_I_LEAK; /* 运动中泄放突破静摩擦时多积的偏置 */
			}
		}
		encoder_pid.Target = ball_pid.Out + s_i_bias + ff + ZERO_THETA;
		}
	}
	if ((tick_ms % Inner_PERIOD_MS) == 0) {
		inner_tick		   = 1;
		encoder_pid.Actual = (float) g_enc.total;
		PID_Update(&encoder_pid);
		if (runstate) {
			Motor_SetTargetFreq((int32_t) encoder_pid.Out);
		} else {
			Motor_SetTargetFreq(0);
		}
	}
	if ((tick_ms % ENC_TICK_PERIOD_MS) == 0) {
		enc_tick = 1;
	}
	if ((tick_ms % TOF_TICK_PERIOD_MS) == 0) {
		tof_tick = 1;
	}
	if ((tick_ms % CMD_PERIOD_MS) == 0) {
		cmd_tick = 1;
	}
	if ((tick_ms % OLED_PERIOD_MS) == 0) {
		oled_tick = 1;
	}
	if ((tick_ms % OLED_TICK_PERIOD_MS) == 0) {
		oled_page_tick = 1;
	}
	if ((tick_ms % VOFA_PERIOD_MS) == 0) {
		vofa_tick = 1;
	}

	/* 按键 1ms 采样：只读引脚与计数，耗时常数级，不影响 50Hz 控制 */
	Key_Tick1ms();

	/* 主循环心跳正常才喂狗：主循环卡死超过 1 个周期即触发 IWDG 复位 */
	if (tick_ms == 0) {
		if (loop_alive) {
			loop_alive = 0;
			HAL_IWDG_Refresh(&hiwdg);
		}
	}
}

/* USER CODE END 4 */

void Error_Handler(void)
{
	__disable_irq();
	while (1) {}
}
